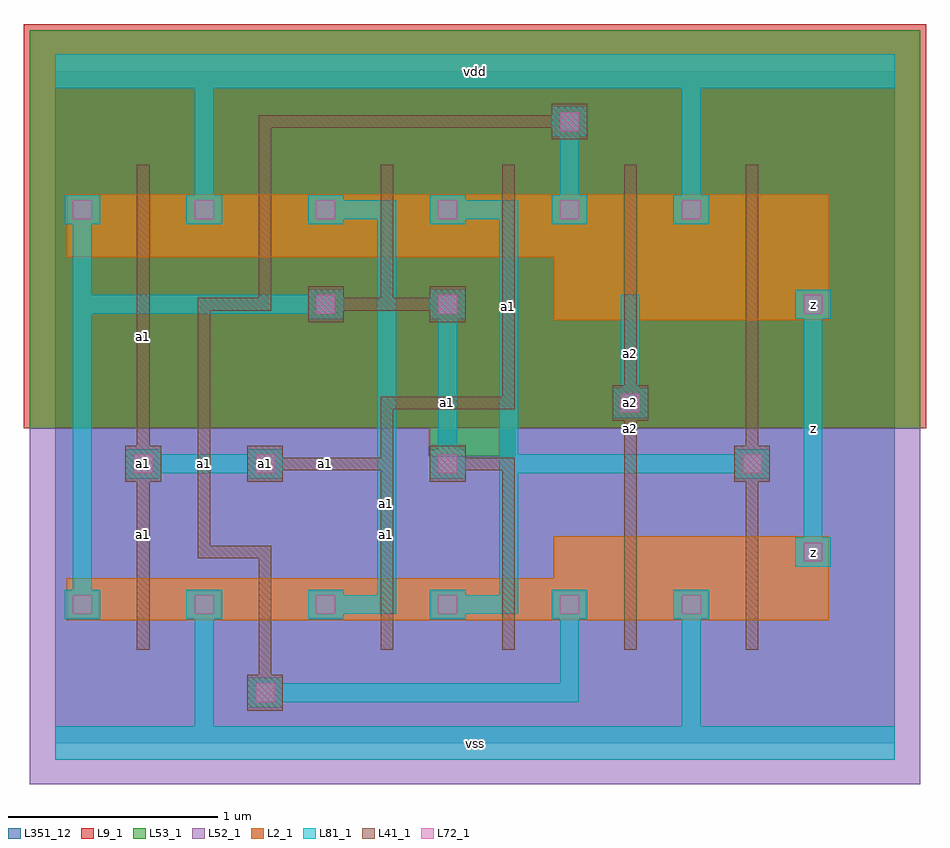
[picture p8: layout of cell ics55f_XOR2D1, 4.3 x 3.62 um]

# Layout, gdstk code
import gdstk
lib = gdstk.Library(unit=1e-6, precision=1e-09)
def R(c, l, rs):  # rectangles x0, y0, x1, y1
    for r in rs: c.add(gdstk.rectangle(r[:2], r[2:], *l))
def A(c, l, x, y, w, h, nx, ny, dx, dy):  # array of equal rectangles
    R(c, l, [(x+i*dx, y+j*dy, x+i*dx+w, y+j*dy+h) for i in range(nx) for j in range(ny)])
def P(c, l, *ps):  # polygons
    for p in ps: c.add(gdstk.Polygon(p, *l))
L0_0 = (0, 0)
L2_1 = (2, 1)
L9_1 = (9, 1)
L41_1 = (41, 1)
L52_1 = (52, 1)
L53_1 = (53, 1)
L72_1 = (72, 1)
L81_1 = (81, 1)
L351_12 = (351, 12)

ics55f_xor2d1 = lib.new_cell('ics55f_XOR2D1')
A(ics55f_xor2d1, L2_1, 0.055, 0.585, 0.73, 0.2, 4, 1, 0.58, 0)
A(ics55f_xor2d1, L2_1, 0.055, 0.585, 0.15, 0.15, 6, 2, 0.58, 1.88)
A(ics55f_xor2d1, L2_1, 0.055, 2.315, 0.73, 0.3, 4, 1, 0.58, 0)
R(ics55f_xor2d1, L2_1, [(2.375,0.585,3.105,0.985), (2.955,0.585,3.685,0.985), (3.535,0.835,3.685,0.985), (2.375,2.015,3.105,2.615), (2.955,2.015,3.685,2.615), (3.535,2.015,3.685,2.165)])
R(ics55f_xor2d1, L9_1, [(-0.15,1.5,4.15,3.425)])
A(ics55f_xor2d1, L41_1, 0.39, 0.445, 0.06, 0.48, 4, 1, 0.58, 0)
A(ics55f_xor2d1, L41_1, 0.39, 2.175, 0.06, 0.58, 4, 1, 0.58, 0)
R(ics55f_xor2d1, L41_1, [(0.915,0.155,1.085,0.325), (0.97,0.21,1.03,0.69), (2.71,0.445,2.77,1.125), (3.29,0.445,3.35,1.125), (0.39,0.63,0.45,1.36), (0.97,0.63,1.03,0.94), (1.55,0.63,1.61,1.65), (1.55,0.63,1.61,1.36), (2.13,0.63,2.19,1.36), (0.68,0.88,1.03,0.94), (0.68,0.88,0.74,2.12), (2.71,0.88,2.77,2.12), (3.29,0.88,3.35,1.36), (0.335,1.245,0.505,1.415), (0.915,1.245,1.085,1.415), (1.785,1.245,1.955,1.415), (3.235,1.245,3.405,1.415), (0.39,1.3,0.45,2.57), (0.97,1.3,1.61,1.36), (1.84,1.3,2.19,1.36), (3.29,1.3,3.35,2.12), (2.655,1.535,2.825,1.705), (1.55,1.59,2.19,1.65), (2.13,1.59,2.19,2.57), (2.71,1.875,2.77,2.755), (3.29,1.875,3.35,2.755), (1.205,2.005,1.375,2.175), (1.785,2.005,1.955,2.175), (0.68,2.06,1.03,2.12), (0.97,2.06,1.03,2.57), (1.26,2.06,1.61,2.12), (1.55,2.06,1.9,2.12), (1.55,2.06,1.61,2.57), (0.97,2.51,1.03,2.99), (2.365,2.875,2.535,3.045), (0.97,2.93,2.48,2.99)])
P(ics55f_xor2d1, L52_1, [(-0.12,-0.195),(-0.12,1.5),(1.782,1.5),(1.782,1.365),(2.192,1.365),(2.192,1.5),(4.12,1.5),(4.12,-0.195)])
P(ics55f_xor2d1, L53_1, [(1.782,1.365),(1.782,1.5),(-0.12,1.5),(-0.12,3.395),(4.12,3.395),(4.12,1.5),(2.192,1.5),(2.192,1.365)])
A(ics55f_xor2d1, L72_1, 0.085, 0.615, 0.09, 0.09, 6, 2, 0.58, 1.88)
R(ics55f_xor2d1, L72_1, [(0.955,0.195,1.045,0.285), (3.565,0.865,3.655,0.955), (0.375,1.285,0.465,1.375), (0.955,1.285,1.045,1.375), (1.825,1.285,1.915,1.375), (3.275,1.285,3.365,1.375), (2.695,1.575,2.785,1.665), (1.245,2.045,1.335,2.135), (1.825,2.045,1.915,2.135), (3.565,2.045,3.655,2.135), (2.405,2.915,2.495,3.005)])
P(ics55f_xor2d1, L81_1, [(0.915,0.17),(0.915,0.31),(1.085,0.31),(1.085,0.285),(2.405,0.285),(2.405,0.59),(2.365,0.59),(2.365,0.73),(2.535,0.73),(2.535,0.59),(2.495,0.59),(2.495,0.195),(1.085,0.195),(1.085,0.17)],
  [(0,-0.08),(0,0.08),(0.665,0.08),(0.665,0.59),(0.625,0.59),(0.625,0.73),(0.795,0.73),(0.795,0.59),(0.755,0.59),(0.755,0.08),(2.985,0.08),(2.985,0.59),(2.945,0.59),(2.945,0.73),(3.115,0.73),(3.115,0.59),(3.075,0.59),(3.075,0.08),(4,0.08),(4,-0.08)],
  [(0.335,1.26),(0.335,1.4),(0.505,1.4),(0.505,1.375),(0.915,1.375),(0.915,1.4),(1.085,1.4),(1.085,1.26),(0.915,1.26),(0.915,1.285),(0.505,1.285),(0.505,1.26)],
  [(2.655,1.55),(2.655,1.69),(2.695,1.69),(2.695,2.135),(2.785,2.135),(2.785,1.69),(2.825,1.69),(2.825,1.55)],
  [(1.785,1.26),(1.785,1.4),(1.825,1.4),(1.825,2.02),(1.785,2.02),(1.785,2.16),(1.955,2.16),(1.955,2.02),(1.915,2.02),(1.915,1.4),(1.955,1.4),(1.955,1.26)],
  [(3.525,0.84),(3.525,0.98),(3.565,0.98),(3.565,2.02),(3.525,2.02),(3.525,2.16),(3.695,2.16),(3.695,2.02),(3.655,2.02),(3.655,0.98),(3.695,0.98),(3.695,0.84)],
  [(0.045,0.59),(0.045,0.73),(0.085,0.73),(0.085,2.47),(0.045,2.47),(0.045,2.61),(0.215,2.61),(0.215,2.47),(0.175,2.47),(0.175,2.135),(1.205,2.135),(1.205,2.16),(1.375,2.16),(1.375,2.02),(1.205,2.02),(1.205,2.045),(0.175,2.045),(0.175,0.73),(0.215,0.73),(0.215,0.59)],
  [(1.205,0.59),(1.205,0.73),(1.375,0.73),(1.375,0.705),(1.535,0.705),(1.535,2.495),(1.375,2.495),(1.375,2.47),(1.205,2.47),(1.205,2.61),(1.375,2.61),(1.375,2.585),(1.625,2.585),(1.625,0.615),(1.375,0.615),(1.375,0.59)],
  [(1.785,0.59),(1.785,0.73),(1.955,0.73),(1.955,0.705),(2.115,0.705),(2.115,2.495),(1.955,2.495),(1.955,2.47),(1.785,2.47),(1.785,2.61),(1.955,2.61),(1.955,2.585),(2.205,2.585),(2.205,1.375),(3.235,1.375),(3.235,1.4),(3.405,1.4),(3.405,1.26),(3.235,1.26),(3.235,1.285),(2.205,1.285),(2.205,0.615),(1.955,0.615),(1.955,0.59)],
  [(2.365,2.47),(2.365,2.61),(2.405,2.61),(2.405,2.89),(2.365,2.89),(2.365,3.03),(2.535,3.03),(2.535,2.89),(2.495,2.89),(2.495,2.61),(2.535,2.61),(2.535,2.47)],
  [(0.625,2.47),(0.625,2.61),(0.665,2.61),(0.665,3.12),(0,3.12),(0,3.28),(4,3.28),(4,3.12),(3.075,3.12),(3.075,2.61),(3.115,2.61),(3.115,2.47),(2.945,2.47),(2.945,2.61),(2.985,2.61),(2.985,3.12),(0.755,3.12),(0.755,2.61),(0.795,2.61),(0.795,2.47)])
R(ics55f_xor2d1, L351_12, [(0,0,4,3.2)])
ics55f_xor2d1.add(gdstk.FlexPath([(0.045,0.24),(3.695,0.24)], 0, ends="flush", simple_path=True, layer=0, datatype=0))  # L0_0
ics55f_xor2d1.add(gdstk.FlexPath([(0.045,0.66),(3.695,0.66)], 0, ends="flush", simple_path=True, layer=0, datatype=0))  # L0_0
ics55f_xor2d1.add(gdstk.FlexPath([(0.045,0.91),(3.695,0.91)], 0, ends="flush", simple_path=True, layer=0, datatype=0))  # L0_0
ics55f_xor2d1.add(gdstk.FlexPath([(0.045,1.33),(3.695,1.33)], 0, ends="flush", simple_path=True, layer=0, datatype=0))  # L0_0
ics55f_xor2d1.add(gdstk.FlexPath([(0.045,1.62),(3.695,1.62)], 0, ends="flush", simple_path=True, layer=0, datatype=0))  # L0_0
ics55f_xor2d1.add(gdstk.FlexPath([(0.045,2.09),(3.695,2.09)], 0, ends="flush", simple_path=True, layer=0, datatype=0))  # L0_0
ics55f_xor2d1.add(gdstk.FlexPath([(0.045,2.54),(3.695,2.54)], 0, ends="flush", simple_path=True, layer=0, datatype=0))  # L0_0
ics55f_xor2d1.add(gdstk.FlexPath([(0.045,2.96),(3.695,2.96)], 0, ends="flush", simple_path=True, layer=0, datatype=0))  # L0_0
ics55f_xor2d1.add(gdstk.FlexPath([(0.13,0.03),(0.13,3.17)], 0, ends="flush", simple_path=True, layer=0, datatype=0))  # L0_0
ics55f_xor2d1.add(gdstk.FlexPath([(0.42,0.03),(0.42,3.17)], 0, ends="flush", simple_path=True, layer=0, datatype=0))  # L0_0
ics55f_xor2d1.add(gdstk.FlexPath([(0.71,0.03),(0.71,3.17)], 0, ends="flush", simple_path=True, layer=0, datatype=0))  # L0_0
ics55f_xor2d1.add(gdstk.FlexPath([(1,0.03),(1,3.17)], 0, ends="flush", simple_path=True, layer=0, datatype=0))  # L0_0
ics55f_xor2d1.add(gdstk.FlexPath([(1.29,0.03),(1.29,3.17)], 0, ends="flush", simple_path=True, layer=0, datatype=0))  # L0_0
ics55f_xor2d1.add(gdstk.FlexPath([(1.58,0.03),(1.58,3.17)], 0, ends="flush", simple_path=True, layer=0, datatype=0))  # L0_0
ics55f_xor2d1.add(gdstk.FlexPath([(1.87,0.03),(1.87,3.17)], 0, ends="flush", simple_path=True, layer=0, datatype=0))  # L0_0
ics55f_xor2d1.add(gdstk.FlexPath([(2.16,0.03),(2.16,3.17)], 0, ends="flush", simple_path=True, layer=0, datatype=0))  # L0_0
ics55f_xor2d1.add(gdstk.FlexPath([(2.45,0.03),(2.45,3.17)], 0, ends="flush", simple_path=True, layer=0, datatype=0))  # L0_0
ics55f_xor2d1.add(gdstk.FlexPath([(2.74,0.03),(2.74,3.17)], 0, ends="flush", simple_path=True, layer=0, datatype=0))  # L0_0
ics55f_xor2d1.add(gdstk.FlexPath([(3.03,0.03),(3.03,3.17)], 0, ends="flush", simple_path=True, layer=0, datatype=0))  # L0_0
ics55f_xor2d1.add(gdstk.FlexPath([(3.32,0.03),(3.32,3.17)], 0, ends="flush", simple_path=True, layer=0, datatype=0))  # L0_0
ics55f_xor2d1.add(gdstk.FlexPath([(3.61,0.03),(3.61,3.17)], 0, ends="flush", simple_path=True, layer=0, datatype=0))  # L0_0
ics55f_xor2d1.add(gdstk.Label('z', (3.61,0.91), layer=2, texttype=1))
ics55f_xor2d1.add(gdstk.Label('z', (3.61,2.09), layer=2, texttype=1))
ics55f_xor2d1.add(gdstk.Label('a1', (1.58,1.14), layer=41, texttype=1))
ics55f_xor2d1.add(gdstk.Label('a1', (1.87,1.62), layer=41, texttype=1))
ics55f_xor2d1.add(gdstk.Label('a1', (2.16,2.08), layer=41, texttype=1))
ics55f_xor2d1.add(gdstk.Label('a1', (1.58,0.995), layer=41, texttype=1))
ics55f_xor2d1.add(gdstk.Label('a1', (1.29,1.33), layer=41, texttype=1))
ics55f_xor2d1.add(gdstk.Label('a1', (1,1.33), layer=41, texttype=1))
ics55f_xor2d1.add(gdstk.Label('a1', (0.42,1.33), layer=41, texttype=1))
ics55f_xor2d1.add(gdstk.Label('a1', (0.42,1.935), layer=41, texttype=1))
ics55f_xor2d1.add(gdstk.Label('a1', (0.42,0.995), layer=41, texttype=1))
ics55f_xor2d1.add(gdstk.Label('a2', (2.74,1.5), layer=41, texttype=1))
ics55f_xor2d1.add(gdstk.Label('a2', (2.74,1.62), layer=41, texttype=1))
ics55f_xor2d1.add(gdstk.Label('a1', (1,1.33), layer=72, texttype=1))
ics55f_xor2d1.add(gdstk.Label('a1', (0.42,1.33), layer=72, texttype=1))
ics55f_xor2d1.add(gdstk.Label('a2', (2.74,1.62), layer=72, texttype=1))
ics55f_xor2d1.add(gdstk.Label('z', (3.61,0.91), layer=72, texttype=1))
ics55f_xor2d1.add(gdstk.Label('z', (3.61,2.09), layer=72, texttype=1))
ics55f_xor2d1.add(gdstk.Label('a1', (1,1.33), layer=81, texttype=6))
ics55f_xor2d1.add(gdstk.Label('a1', (0.71,1.33), layer=81, texttype=6))
ics55f_xor2d1.add(gdstk.Label('a1', (0.42,1.33), layer=81, texttype=6))
ics55f_xor2d1.add(gdstk.Label('a2', (2.74,1.62), layer=81, texttype=6))
ics55f_xor2d1.add(gdstk.Label('a2', (2.74,1.855), layer=81, texttype=6))
ics55f_xor2d1.add(gdstk.Label('z', (3.61,0.91), layer=81, texttype=6))
ics55f_xor2d1.add(gdstk.Label('z', (3.61,2.09), layer=81, texttype=6))
ics55f_xor2d1.add(gdstk.Label('z', (3.61,1.5), layer=81, texttype=6))
ics55f_xor2d1.add(gdstk.Label('vss', (2,0), layer=81, texttype=6))
ics55f_xor2d1.add(gdstk.Label('vdd', (2,3.2), layer=81, texttype=6))

lib.write_gds('ics55f_XOR2D1.gds')
